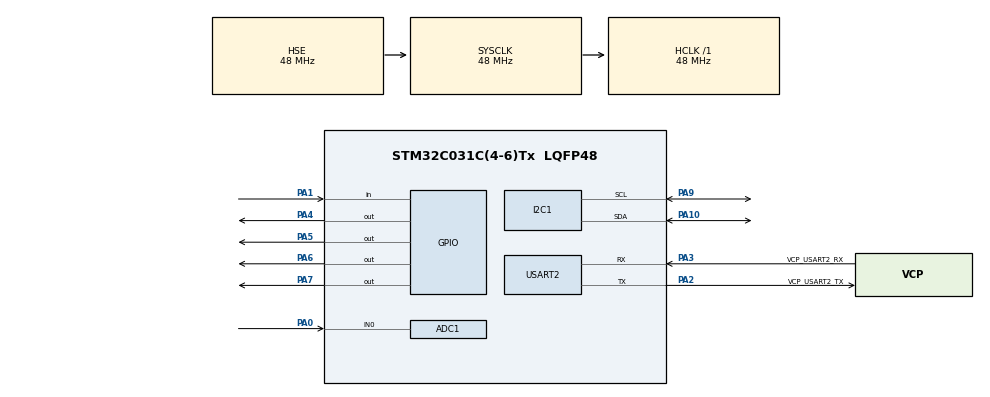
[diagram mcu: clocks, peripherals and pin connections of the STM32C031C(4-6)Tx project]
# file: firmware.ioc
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ADC1.NbrOfConversionFlag=0
ADC1.SelectedChannel=ADC_CHANNEL_0
ADC1.master=1
I2C1.Timing=0x10805D88
Mcu.Family=STM32C0
Mcu.Name=STM32C031C(4-6)Tx
Mcu.Package=LQFP48
PA0.Mode=IN0
PA0.Signal=ADC1_IN0
PA1.Signal=GPIO_Input
PA10.Mode=I2C
PA10.Signal=I2C1_SDA
PA13.GPIO_Label=DEBUG_SWDIO
PA13.Signal=DEBUG_SWDIO
PA14-BOOT0.GPIO_Label=DEBUG_SWCLK
PA14-BOOT0.Signal=DEBUG_SWCLK
PA2.GPIO_Label=VCP_USART2_TX
PA2.Mode=Asynchronous
PA2.Signal=USART2_TX
PA3.GPIO_Label=VCP_USART2_RX
PA3.Mode=Asynchronous
PA3.Signal=USART2_RX
PA4.Signal=GPIO_Output
PA5.Signal=GPIO_Output
PA6.Signal=GPIO_Output
PA7.Signal=GPIO_Output
PA9.Mode=I2C
PA9.Signal=I2C1_SCL
PC14-OSCX_IN\ (PC14).GPIO_Label=RCC_OSCX_IN
PC14-OSCX_IN\ (PC14).Mode=LSE-External-Oscillator
PC14-OSCX_IN\ (PC14).Signal=RCC_OSCX_IN
PC15-OSCX_OUT\ (PC15).GPIO_Label=RCC_OSCX_OUT
PC15-OSCX_OUT\ (PC15).Mode=LSE-External-Oscillator
PC15-OSCX_OUT\ (PC15).Signal=RCC_OSCX_OUT
PF0-OSC_IN\ (PF0).GPIO_Label=RCC_OSC_IN
PF0-OSC_IN\ (PF0).Mode=HSE-External-Oscillator
PF0-OSC_IN\ (PF0).Signal=RCC_OSC_IN
PF1-OSC_OUT\ (PF1).GPIO_Label=RCC_OSC_OUT
PF1-OSC_OUT\ (PF1).Mode=HSE-External-Oscillator
PF1-OSC_OUT\ (PF1).Signal=RCC_OSC_OUT
ProjectManager.HeapSize=0x200
ProjectManager.StackSize=0x400
ProjectManager.TargetToolchain=Makefile
RCC.ADCFreq_Value=48000000
RCC.AHBFreq_Value=48000000
RCC.CortexFreq_Value=48000000
RCC.EXTERNAL_CLOCK_VALUE=12288000
RCC.HCLKFreq_Value=48000000
RCC.HSE_VALUE=48000000
RCC.HSISYSCLKDivider=RCC_HSI_DIV1
RCC.HSI_VALUE=48000000
RCC.SYSCLKFreq_VALUE=48000000
RCC.SYSCLKSource=RCC_SYSCLKSOURCE_HSE
USART2.VirtualMode-Asynchronous=VM_ASYNC
board=NUCLEO-C031C6

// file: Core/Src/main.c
/* USER CODE BEGIN Header */
/**
  ******************************************************************************
  * @file           : main.c
  * @brief          : Main program body
  ******************************************************************************
  * @attention
  *
  * Copyright (c) 2026 STMicroelectronics.
  * All rights reserved.
  *
  * This software is licensed under terms that can be found in the LICENSE file
  * in the root directory of this software component.
  * If no LICENSE file comes with this software, it is provided AS-IS.
  *
  ******************************************************************************
  */
/* USER CODE END Header */
#include "main.h"

/* USER CODE BEGIN Includes */
#include <stdio.h>
#include <stdio.h>
#include "platform.h"
#include "memory_probe.h"
#include "rtos_app.h"
#include "FreeRTOS.h"
#include "task.h"
#include "rtos_uart.h"
/* USER CODE END Includes */

ADC_HandleTypeDef hadc1;

I2C_HandleTypeDef hi2c1;

UART_HandleTypeDef huart2;

void SystemClock_Config(void);
static void MX_GPIO_Init(void);
static void MX_I2C1_Init(void);
static void MX_USART2_UART_Init(void);
static void MX_ADC1_Init(void);

/* USER CODE BEGIN 0 */
int _write(int fd, char *p, int n)
{
    (void)fd;

    if (xTaskGetSchedulerState() == taskSCHEDULER_RUNNING) {
        return RTOS_UART_Write(p, n);
    }

    HAL_UART_Transmit(
        &huart2,
        (uint8_t *)p,
        (uint16_t)n,
        HAL_MAX_DELAY
    );

    return n;
}
/* USER CODE END 0 */

int main(void)
{

  /* USER CODE BEGIN 1 */
  memory_probe_init();
  /* USER CODE END 1 */

  /* MCU Configuration--------------------------------------------------------*/

  /* Reset of all peripherals, Initializes the Flash interface and the Systick. */
  HAL_Init();

  /* Configure the system clock */
  SystemClock_Config();

  /* Initialize all configured peripherals */
  MX_GPIO_Init();
  MX_I2C1_Init();
  MX_USART2_UART_Init();
  MX_ADC1_Init();
  /* USER CODE BEGIN 2 */
  Platform_Init(&huart2, &hi2c1, &hadc1);
  RTOS_Start(&huart2);
  /* USER CODE END 2 */

  /* Infinite loop */
  while (1)
  {

  }
}

void SystemClock_Config(void)
{
  RCC_OscInitTypeDef RCC_OscInitStruct = {0};
  RCC_ClkInitTypeDef RCC_ClkInitStruct = {0};

  __HAL_FLASH_SET_LATENCY(FLASH_LATENCY_1);

  /** Initializes the RCC Oscillators according to the specified parameters
  * in the RCC_OscInitTypeDef structure.
  */
  RCC_OscInitStruct.OscillatorType = RCC_OSCILLATORTYPE_HSE;
  RCC_OscInitStruct.HSEState = RCC_HSE_ON;
  if (HAL_RCC_OscConfig(&RCC_OscInitStruct) != HAL_OK)
  {
    Error_Handler();
  }

  /** Initializes the CPU, AHB and APB buses clocks
  */
  RCC_ClkInitStruct.ClockType = RCC_CLOCKTYPE_HCLK|RCC_CLOCKTYPE_SYSCLK
                              |RCC_CLOCKTYPE_PCLK1;
  RCC_ClkInitStruct.SYSCLKSource = RCC_SYSCLKSOURCE_HSE;
  RCC_ClkInitStruct.SYSCLKDivider = RCC_SYSCLK_DIV1;
  RCC_ClkInitStruct.AHBCLKDivider = RCC_HCLK_DIV1;
  RCC_ClkInitStruct.APB1CLKDivider = RCC_APB1_DIV1;

  if (HAL_RCC_ClockConfig(&RCC_ClkInitStruct, FLASH_LATENCY_1) != HAL_OK)
  {
    Error_Handler();
  }
}

static void MX_ADC1_Init(void)
{

  ADC_ChannelConfTypeDef sConfig = {0};

  /** Configure the global features of the ADC (Clock, Resolution, Data Alignment and number of conversion)
  */
  hadc1.Instance = ADC1;
  hadc1.Init.ClockPrescaler = ADC_CLOCK_SYNC_PCLK_DIV2;
  hadc1.Init.Resolution = ADC_RESOLUTION_12B;
  hadc1.Init.DataAlign = ADC_DATAALIGN_RIGHT;
  hadc1.Init.ScanConvMode = ADC_SCAN_SEQ_FIXED;
  hadc1.Init.EOCSelection = ADC_EOC_SINGLE_CONV;
  hadc1.Init.LowPowerAutoWait = DISABLE;
  hadc1.Init.LowPowerAutoPowerOff = DISABLE;
  hadc1.Init.ContinuousConvMode = DISABLE;
  hadc1.Init.NbrOfConversion = 1;
  hadc1.Init.DiscontinuousConvMode = DISABLE;
  hadc1.Init.ExternalTrigConv = ADC_SOFTWARE_START;
  hadc1.Init.ExternalTrigConvEdge = ADC_EXTERNALTRIGCONVEDGE_NONE;
  hadc1.Init.DMAContinuousRequests = DISABLE;
  hadc1.Init.Overrun = ADC_OVR_DATA_PRESERVED;
  hadc1.Init.SamplingTimeCommon1 = ADC_SAMPLETIME_1CYCLE_5;
  hadc1.Init.OversamplingMode = DISABLE;
  hadc1.Init.TriggerFrequencyMode = ADC_TRIGGER_FREQ_HIGH;
  if (HAL_ADC_Init(&hadc1) != HAL_OK)
  {
    Error_Handler();
  }

  /** Configure Regular Channel
  */
  sConfig.Channel = ADC_CHANNEL_0;
  sConfig.Rank = ADC_RANK_CHANNEL_NUMBER;
  if (HAL_ADC_ConfigChannel(&hadc1, &sConfig) != HAL_OK)
  {
    Error_Handler();
  }

}

static void MX_I2C1_Init(void)
{

  hi2c1.Instance = I2C1;
  hi2c1.Init.Timing = 0x10805D88;
  hi2c1.Init.OwnAddress1 = 0;
  hi2c1.Init.AddressingMode = I2C_ADDRESSINGMODE_7BIT;
  hi2c1.Init.DualAddressMode = I2C_DUALADDRESS_DISABLE;
  hi2c1.Init.OwnAddress2 = 0;
  hi2c1.Init.OwnAddress2Masks = I2C_OA2_NOMASK;
  hi2c1.Init.GeneralCallMode = I2C_GENERALCALL_DISABLE;
  hi2c1.Init.NoStretchMode = I2C_NOSTRETCH_DISABLE;
  if (HAL_I2C_Init(&hi2c1) != HAL_OK)
  {
    Error_Handler();
  }

  /** Configure Analogue filter
  */
  if (HAL_I2CEx_ConfigAnalogFilter(&hi2c1, I2C_ANALOGFILTER_ENABLE) != HAL_OK)
  {
    Error_Handler();
  }

  /** Configure Digital filter
  */
  if (HAL_I2CEx_ConfigDigitalFilter(&hi2c1, 0) != HAL_OK)
  {
    Error_Handler();
  }

}

static void MX_USART2_UART_Init(void)
{

  huart2.Instance = USART2;
  huart2.Init.BaudRate = 115200;
  huart2.Init.WordLength = UART_WORDLENGTH_8B;
  huart2.Init.StopBits = UART_STOPBITS_1;
  huart2.Init.Parity = UART_PARITY_NONE;
  huart2.Init.Mode = UART_MODE_TX_RX;
  huart2.Init.HwFlowCtl = UART_HWCONTROL_NONE;
  huart2.Init.OverSampling = UART_OVERSAMPLING_16;
  huart2.Init.OneBitSampling = UART_ONE_BIT_SAMPLE_DISABLE;
  huart2.Init.ClockPrescaler = UART_PRESCALER_DIV1;
  huart2.AdvancedInit.AdvFeatureInit = UART_ADVFEATURE_NO_INIT;
  if (HAL_UART_Init(&huart2) != HAL_OK)
  {
    Error_Handler();
  }

}

static void MX_GPIO_Init(void)
{
  GPIO_InitTypeDef GPIO_InitStruct = {0};

  /* GPIO Ports Clock Enable */
  __HAL_RCC_GPIOC_CLK_ENABLE();
  __HAL_RCC_GPIOF_CLK_ENABLE();
  __HAL_RCC_GPIOA_CLK_ENABLE();

  /*Configure GPIO pin Output Level */
  HAL_GPIO_WritePin(GPIOA,
                  GPIO_PIN_4|GPIO_PIN_5|GPIO_PIN_6|GPIO_PIN_7,
                  GPIO_PIN_RESET);

  /*Configure GPIO pin : PA1 */
  GPIO_InitStruct.Pin = GPIO_PIN_1;
  GPIO_InitStruct.Mode = GPIO_MODE_INPUT;
  GPIO_InitStruct.Pull = GPIO_PULLDOWN;
  HAL_GPIO_Init(GPIOA, &GPIO_InitStruct);

  /*Configure GPIO pins : PA4 PA5 PA6 PA7 */
  GPIO_InitStruct.Pin = GPIO_PIN_4|GPIO_PIN_5|GPIO_PIN_6|GPIO_PIN_7;
  GPIO_InitStruct.Mode = GPIO_MODE_OUTPUT_PP;
  GPIO_InitStruct.Pull = GPIO_NOPULL;
  GPIO_InitStruct.Speed = GPIO_SPEED_FREQ_LOW;
  HAL_GPIO_Init(GPIOA, &GPIO_InitStruct);

}

void Error_Handler(void)
{
  __disable_irq();
  while (1)
  {
  }
}
